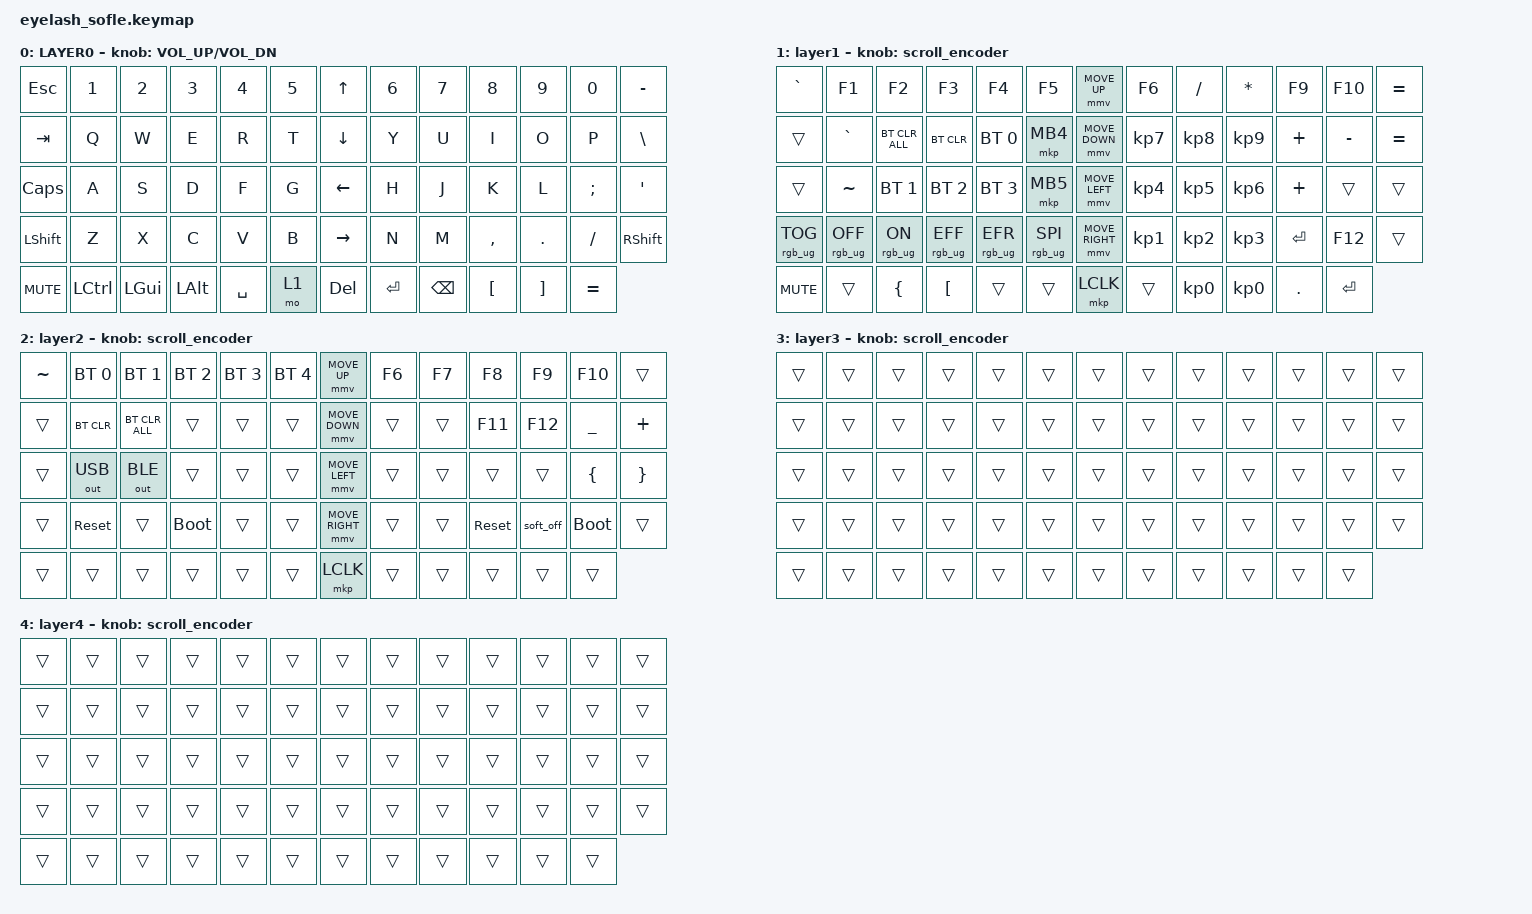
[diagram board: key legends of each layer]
#define ZMK_POINTING_DEFAULT_MOVE_VAL 1200  // 600
#define ZMK_POINTING_DEFAULT_SCRL_VAL 25   // 10

#include <input/processors.dtsi>
#include <zephyr/dt-bindings/input/input-event-codes.h>
#include <behaviors.dtsi>
#include <dt-bindings/zmk/bt.h>
#include <dt-bindings/zmk/keys.h>
#include <dt-bindings/zmk/outputs.h>
#include <dt-bindings/zmk/pointing.h>
#include <dt-bindings/zmk/rgb.h>

&mmv_input_listener { input-processors = <&zip_xy_scaler 2 1>; };

&msc_input_listener { input-processors = <&zip_scroll_scaler 2 1>; };

&msc {
    acceleration-exponent = <1>;      // 0
    time-to-max-speed-ms = <100>;       // 300
    delay-ms = <0>;                   // 0
};

&mmv {
    time-to-max-speed-ms = <500>;
    acceleration-exponent = <1>;
    trigger-period-ms = <16>;
};

&soft_off { hold-time-ms = <2000>; };

/ {
    scroll_encoder: scroll_encoder {
        compatible = "zmk,behavior-sensor-rotate";
        #sensor-binding-cells = <0>;
        bindings = <&msc SCRL_DOWN>, <&msc SCRL_UP>;

        tap-ms = <100>;
    };

    behaviors {
    };

    combos {
        compatible = "zmk,combos";

        softoff {
            bindings = <&soft_off>;
            key-positions = <14 28 40>;
        };
    };

    keymap {
        compatible = "zmk,keymap";

        layer0 {
            bindings = <
&kp ESC     &kp N1     &kp N2        &kp N3        &kp N4     &kp N5    &kp UP_ARROW     &kp N6      &kp N7         &kp N8            &kp N9             &kp N0     &kp MINUS
&kp TAB     &kp Q      &kp W         &kp E         &kp R      &kp T     &kp DOWN_ARROW   &kp Y       &kp U          &kp I             &kp O              &kp P      &kp BSLH
&kp CAPS    &kp A      &kp S         &kp D         &kp F      &kp G     &kp LEFT_ARROW   &kp H       &kp J          &kp K             &kp L              &kp SEMI   &kp APOS
&kp LSHFT   &kp Z      &kp X         &kp C         &kp V      &kp B     &kp RIGHT_ARROW  &kp N       &kp M          &kp COMMA         &kp DOT            &kp FSLH   &kp RIGHT_SHIFT
&kp C_MUTE  &kp LCTRL  &kp LEFT_GUI  &kp LEFT_ALT  &kp SPACE  &mo 1     &kp DELETE       &kp RETURN  &kp BACKSPACE  &kp LEFT_BRACKET  &kp RIGHT_BRACKET  &kp EQUAL
            >;

            sensor-bindings = <&inc_dec_kp C_VOLUME_UP C_VOL_DN>;
            display-name = "LAYER0";
        };

        layer_1 {
            bindings = <
&kp GRAVE        &kp F1           &kp F2          &kp F3            &kp F4           &kp F5             &mmv MOVE_UP     &kp F6           &kp SLASH        &kp ASTERISK     &kp F9      &kp F10    &kp EQUAL
&trans           &kp GRAVE        &bt BT_CLR_ALL  &bt BT_CLR        &bt BT_SEL 0     &mkp MB4           &mmv MOVE_DOWN   &kp KP_NUMBER_7  &kp KP_NUMBER_8  &kp KP_NUMBER_9  &kp PLUS    &kp MINUS  &kp EQUAL
&trans           &kp TILDE        &bt BT_SEL 1    &bt BT_SEL 2      &bt BT_SEL 3     &mkp MB5           &mmv MOVE_LEFT   &kp KP_NUMBER_4  &kp KP_NUMBER_5  &kp KP_NUMBER_6  &kp PLUS    &trans     &trans
&rgb_ug RGB_TOG  &rgb_ug RGB_OFF  &rgb_ug RGB_ON  &rgb_ug RGB_EFF   &rgb_ug RGB_EFR  &rgb_ug RGB_SPI    &mmv MOVE_RIGHT  &kp KP_NUMBER_1  &kp KP_NUMBER_2  &kp KP_NUMBER_3  &kp RET     &kp F12    &trans
&kp C_MUTE       &trans           &kp LEFT_BRACE  &kp LEFT_BRACKET  &trans           &trans             &mkp LCLK        &trans           &kp KP_NUMBER_0  &kp KP_NUMBER_0  &kp PERIOD  &kp RET
            >;

            display-name = "layer1";
            sensor-bindings = <&scroll_encoder>;
        };

        layer_2 {
            bindings = <
&kp TILDE  &bt BT_SEL 0  &bt BT_SEL 1    &bt BT_SEL 2  &bt BT_SEL 3  &bt BT_SEL 4    &mmv MOVE_UP     &kp F6  &kp F7  &kp F8      &kp F9     &kp F10      &trans
&trans     &bt BT_CLR    &bt BT_CLR_ALL  &trans        &trans        &trans          &mmv MOVE_DOWN   &trans  &trans  &kp F11     &kp F12    &kp UNDER    &kp PLUS
&trans     &out OUT_USB  &out OUT_BLE    &trans        &trans        &trans          &mmv MOVE_LEFT   &trans  &trans  &trans      &trans     &kp LBRC     &kp RBRC
&trans     &sys_reset    &trans          &bootloader   &trans        &trans          &mmv MOVE_RIGHT  &trans  &trans  &sys_reset  &soft_off  &bootloader  &trans
&trans     &trans        &trans          &trans        &trans        &trans          &mkp LCLK        &trans  &trans  &trans      &trans     &trans
            >;

            display-name = "layer2";
            sensor-bindings = <&scroll_encoder>;
        };

        layer_3 {
            bindings = <
&trans  &trans  &trans  &trans  &trans  &trans    &trans  &trans  &trans  &trans  &trans  &trans  &trans
&trans  &trans  &trans  &trans  &trans  &trans    &trans  &trans  &trans  &trans  &trans  &trans  &trans
&trans  &trans  &trans  &trans  &trans  &trans    &trans  &trans  &trans  &trans  &trans  &trans  &trans
&trans  &trans  &trans  &trans  &trans  &trans    &trans  &trans  &trans  &trans  &trans  &trans  &trans
&trans  &trans  &trans  &trans  &trans  &trans    &trans  &trans  &trans  &trans  &trans  &trans
            >;

            display-name = "layer3";
            sensor-bindings = <&scroll_encoder>;
        };

        layer_4 {
            bindings = <
&trans  &trans  &trans  &trans  &trans  &trans    &trans  &trans  &trans  &trans  &trans  &trans  &trans
&trans  &trans  &trans  &trans  &trans  &trans    &trans  &trans  &trans  &trans  &trans  &trans  &trans
&trans  &trans  &trans  &trans  &trans  &trans    &trans  &trans  &trans  &trans  &trans  &trans  &trans
&trans  &trans  &trans  &trans  &trans  &trans    &trans  &trans  &trans  &trans  &trans  &trans  &trans
&trans  &trans  &trans  &trans  &trans  &trans    &trans  &trans  &trans  &trans  &trans  &trans
            >;

            display-name = "layer4";
            sensor-bindings = <&scroll_encoder>;
        };
    };
};
